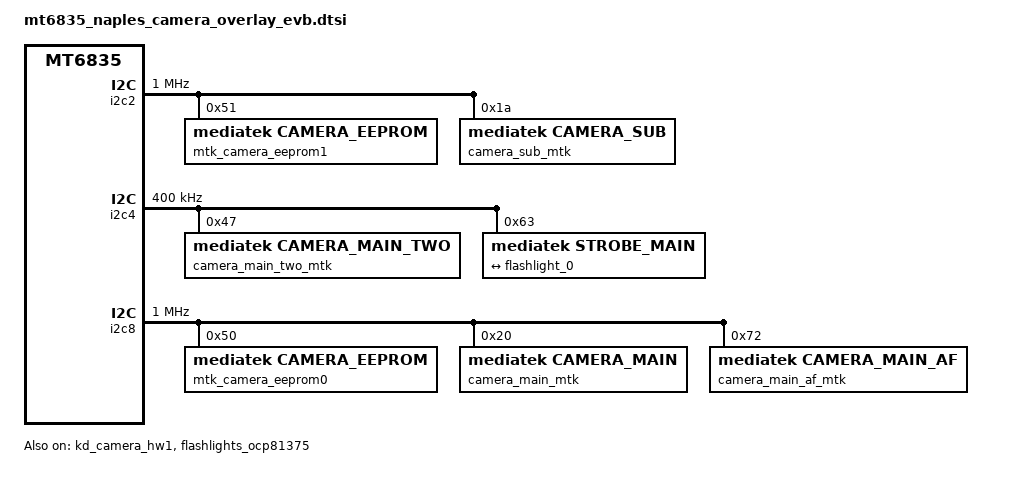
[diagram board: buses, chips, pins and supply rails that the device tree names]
// SPDX-License-Identifier: GPL-2.0
/* Copyright (c) 2020 MediaTek Inc. */
/* CAMERA GPIO standardization */
&pio {
	camera_pins_cam0_rst_0: cam0@0 {
		pins_cmd_dat {
			pinmux = <PINMUX_GPIO28__FUNC_GPIO28>;
			slew-rate = <1>;
			output-low;
		};
	};
	camera_pins_cam0_rst_1: cam0@1 {
		pins_cmd_dat {
			pinmux = <PINMUX_GPIO28__FUNC_GPIO28>;
			slew-rate = <1>;
			output-high;
		};
	};
	camera_pins_cam1_rst_0: cam1@2 {
		pins_cmd_dat {
			pinmux = <PINMUX_GPIO25__FUNC_GPIO25>;
			slew-rate = <1>;
			output-low;
		};
	};
	camera_pins_cam1_rst_1: cam1@3 {
		pins_cmd_dat {
			pinmux = <PINMUX_GPIO25__FUNC_GPIO25>;
			slew-rate = <1>;
			output-high;
		};
	};
	camera_pins_cam2_rst_0: cam2@4{
		pins_cmd_dat {
			pinmux = <PINMUX_GPIO27__FUNC_GPIO27>;
			slew-rate = <1>;
			output-low;
		};
	};
	camera_pins_cam2_rst_1: cam2@5 {
		pins_cmd_dat {
			pinmux = <PINMUX_GPIO27__FUNC_GPIO27>;
			slew-rate = <1>;
			output-high;
		};
	};
	camera_pins_cam0_avdd_gpio_0: cam0@6 {
		pins_cmd_dat {
			pinmux = <PINMUX_GPIO22__FUNC_GPIO22>;
			slew-rate = <1>;
			output-low;
		};
	};
	camera_pins_cam0_avdd_gpio_1: cam0@7 {
		pins_cmd_dat {
			pinmux = <PINMUX_GPIO22__FUNC_GPIO22>;
			slew-rate = <1>;
			output-high;
		};
	};
	camera_pins_cam0_dvdd_gpio_0: cam0@8 {
		pins_cmd_dat {
			pinmux = <PINMUX_GPIO23__FUNC_GPIO23>;
			slew-rate = <1>;
			output-low;
		};
	};
	camera_pins_cam0_dvdd_gpio_1: cam0@9 {
		pins_cmd_dat {
			pinmux = <PINMUX_GPIO23__FUNC_GPIO23>;
			slew-rate = <1>;
			output-high;
		};
	};
	camera_pins_cam0_mclk_off: camera_pins_cam0_mclk_off {
		pins_cmd_dat {
			pinmux = <PINMUX_GPIO91__FUNC_GPIO91>;
			drive-strength = <1>;
		};
	};
	camera_pins_cam0_mclk_2ma: camera_pins_cam0_mclk_2ma {
		pins_cmd_dat {
			pinmux = <PINMUX_GPIO91__FUNC_CMMCLK3>;
			drive-strength = <0>;
		};
	};
	camera_pins_cam0_mclk_4ma: camera_pins_cam0_mclk_4ma {
		pins_cmd_dat {
			pinmux = <PINMUX_GPIO91__FUNC_CMMCLK3>;
			drive-strength = <1>;
		};
	};
	camera_pins_cam0_mclk_6ma: camera_pins_cam0_mclk_6ma {
		pins_cmd_dat {
			pinmux = <PINMUX_GPIO91__FUNC_CMMCLK3>;
			drive-strength = <2>;
		};
	};
	camera_pins_cam0_mclk_8ma: camera_pins_cam0_mclk_8ma {
		pins_cmd_dat {
			pinmux = <PINMUX_GPIO91__FUNC_CMMCLK3>;
			drive-strength = <3>;
		};
	};
	camera_pins_cam1_mclk_off: camera_pins_cam1_mclk_off {
		pins_cmd_dat {
			pinmux = <PINMUX_GPIO88__FUNC_GPIO88>;
			drive-strength = <1>;
		};
	};
	camera_pins_cam1_mclk_2ma: camera_pins_cam1_mclk_2ma {
		pins_cmd_dat {
			pinmux = <PINMUX_GPIO88__FUNC_CMMCLK0>;
			drive-strength = <0>;
		};
	};
	camera_pins_cam1_mclk_4ma: camera_pins_cam1_mclk_4ma {
		pins_cmd_dat {
			pinmux = <PINMUX_GPIO88__FUNC_CMMCLK0>;
			drive-strength = <1>;
		};
	};
	camera_pins_cam1_mclk_6ma: camera_pins_cam1_mclk_6ma {
		pins_cmd_dat {
			pinmux = <PINMUX_GPIO88__FUNC_CMMCLK0>;
			drive-strength = <2>;
		};
	};
	camera_pins_cam1_mclk_8ma: camera_pins_cam1_mclk_8ma {
		pins_cmd_dat {
			pinmux = <PINMUX_GPIO88__FUNC_CMMCLK0>;
			drive-strength = <3>;
		};
	};
	camera_pins_cam2_mclk_off: camera_pins_cam2_mclk_off {
		pins_cmd_dat {
			pinmux = <PINMUX_GPIO90__FUNC_GPIO90>;
			drive-strength = <1>;
		};
	};
	camera_pins_cam2_mclk_2ma: camera_pins_cam2_mclk_2ma {
		pins_cmd_dat {
			pinmux = <PINMUX_GPIO90__FUNC_CMMCLK2>;
			drive-strength = <0>;
		};
	};
	camera_pins_cam2_mclk_4ma: camera_pins_cam2_mclk_4ma {
		pins_cmd_dat {
			pinmux = <PINMUX_GPIO90__FUNC_CMMCLK2>;
			drive-strength = <1>;
		};
	};
	camera_pins_cam2_mclk_6ma: camera_pins_cam2_mclk_6ma {
		pins_cmd_dat {
			pinmux = <PINMUX_GPIO90__FUNC_CMMCLK2>;
			drive-strength = <2>;
		};
	};
	camera_pins_cam2_mclk_8ma: camera_pins_cam2_mclk_8ma {
		pins_cmd_dat {
			pinmux = <PINMUX_GPIO90__FUNC_CMMCLK2>;
			drive-strength = <3>;
		};
	};
	camera_pins_default: camdefault {
	};
};

/delete-node/ &mt6377_vio28;
&main_pmic{
	regulators {
		mt6377_vio28: vio28 {
			regulator-compatible = "VIO28";
			regulator-name = "mt6377_vio28";
			regulator-min-microvolt = <2800000>;
			regulator-max-microvolt = <2800000>;
			regulator-enable-ramp-delay = <200>;
			regulator-allowed-modes = <0 2>;
			regulator-allow-set-load;
		};
	};
};

&kd_camera_hw1 {
	pinctrl-names = "default",
			"cam0_rst0", "cam0_rst1",
			"cam1_rst0", "cam1_rst1",
			"cam2_rst0", "cam2_rst1",
			"cam0_mclk_off",
			"cam0_mclk_2mA", "cam0_mclk_4mA",
			"cam0_mclk_6mA", "cam0_mclk_8mA",
			"cam1_mclk_off",
			"cam1_mclk_2mA", "cam1_mclk_4mA",
			"cam1_mclk_6mA", "cam1_mclk_8mA",
			"cam2_mclk_off",
			"cam2_mclk_2mA", "cam2_mclk_4mA",
			"cam2_mclk_6mA", "cam2_mclk_8mA";

	pinctrl-0 = <&camera_pins_default>;
	pinctrl-1 = <&camera_pins_cam0_rst_0>;
	pinctrl-2 = <&camera_pins_cam0_rst_1>;
	pinctrl-3 = <&camera_pins_cam1_rst_0>;
	pinctrl-4 = <&camera_pins_cam1_rst_1>;
	pinctrl-5 = <&camera_pins_cam2_rst_0>;
	pinctrl-6 = <&camera_pins_cam2_rst_1>;
	pinctrl-7 = <&camera_pins_cam0_mclk_off>;
	pinctrl-8 = <&camera_pins_cam0_mclk_2ma>;
	pinctrl-9 = <&camera_pins_cam0_mclk_4ma>;
	pinctrl-10 = <&camera_pins_cam0_mclk_6ma>;
	pinctrl-11 = <&camera_pins_cam0_mclk_8ma>;
	pinctrl-12 = <&camera_pins_cam1_mclk_off>;
	pinctrl-13 = <&camera_pins_cam1_mclk_2ma>;
	pinctrl-14 = <&camera_pins_cam1_mclk_4ma>;
	pinctrl-15 = <&camera_pins_cam1_mclk_6ma>;
	pinctrl-16 = <&camera_pins_cam1_mclk_8ma>;
	pinctrl-17 = <&camera_pins_cam2_mclk_off>;
	pinctrl-18 = <&camera_pins_cam2_mclk_2ma>;
	pinctrl-19 = <&camera_pins_cam2_mclk_4ma>;
	pinctrl-20 = <&camera_pins_cam2_mclk_6ma>;
	pinctrl-21 = <&camera_pins_cam2_mclk_8ma>;

	/* main (wide)*/
	cam0_vcamio-supply = <&mt6377_vio18>;
	cam0_vcama-supply = <&cam_avdd_rear_main>;
	cam0_vcamd-supply = <&cam_dvdd_rear_main>;
	cam0_vcamaf-supply = <&mt6377_vio28>;
	cam1_vcamio-supply = <&mt6377_vio18>;
	cam1_vcama-supply = <&cam_avdd_front>;
	cam1_vcamd-supply = <&cam_dvdd_front>;
	cam2_vcamio-supply = <&mt6377_vio18>;
	cam2_vcama-supply = <&cam_avdd_read_wide>;
	cam2_vcamd-supply = <&cam_dvdd_read_wide>;

	cam0_pin_mclk = "mclk";
	cam0_pin_rst = "gpio";
	cam0_pin_vcama = "regulator";
	cam0_pin_vcamio = "regulator";
	cam0_pin_vcamd = "regulator";
	cam0_pin_vcamaf = "regulator";
	cam1_pin_mclk = "mclk";
	cam1_pin_rst = "gpio";
	cam1_pin_vcama = "regulator";
	cam1_pin_vcamio = "regulator";
	cam1_pin_vcamd = "regulator";
	cam2_pin_mclk = "mclk";
	cam2_pin_rst = "gpio";
	cam2_pin_vcamio = "regulator";
	cam2_pin_vcama = "regulator";
	cam2_pin_vcamd = "regulator";

	cam0_enable_sensor = "mot_naples_s5khm9_mipi_raw mot_naples_imx882_mipi_raw";
	cam1_enable_sensor = "mot_naples_s5kkds_mipi_raw";
	cam2_enable_sensor = "mot_naples_ov08f_mipi_raw mot_naples_gc08a3_mipi_raw";
	status = "okay";
};
/* CAMERA GPIO end */

/* CAMERA EEPROM */
&i2c2 {
	status = "okay";
	clock-frequency = <1000000>;
	#address-cells = <1>;
	#size-cells = <0>;

	mtk_camera_eeprom1:camera_eeprom1@51 {
		compatible = "mediatek,camera_eeprom";
		reg = <0x51>;
		status = "okay";
	};

	camera_sub_mtk:camera_sub@1a {
		compatible = "mediatek,camera_sub";
		#thermal-sensor-cells = <0>;
		reg = <0x1a>;
		status = "okay";
	};
};

&i2c4 {
	status = "okay";
	clock-frequency = <400000>;

	camera_main_two_mtk:camera_main_two@47 {
		compatible = "mediatek,camera_main_two";
		#thermal-sensor-cells = <0>;
		reg = <0x47>;
		status = "okay";
	};

	strobe_main:strobe_main@63 {
		compatible = "mediatek,strobe_main";
		reg = <0x63>;
		#cooling-cells = <2>;
		pinctrl-names = "default", "hwen-high", "hwen-low";
		pinctrl-0 = <&flashlight_pins_default>;
		pinctrl-1 = <&flashlight_pins_hwen_high>;
		pinctrl-2 = <&flashlight_pins_hwen_low>;
		status = "okay";
		decouple = <1>;
		flash@0 {
			reg = <0>;
			type = <0>;
			ct = <0>;
			part = <0>;
			port@0 {
				fl_core_0: endpoint {
				remote-endpoint = <&flashlight_0>;
				};
			};
		};
	};
};

&i2c8 {
	status = "okay";
	clock-frequency = <1000000>;
	#address-cells = <1>;
	#size-cells = <0>;

	mtk_camera_eeprom0:camera_eeprom0@50 {
		compatible = "mediatek,camera_eeprom";
		reg = <0x50>;
		status = "okay";
	};
	camera_main_mtk:camera_main@20 {
		compatible = "mediatek,camera_main";
		#thermal-sensor-cells = <0>;
		reg = <0x20>;
		status = "okay";
	};
};
/* CAMERA EEPROM end */

/* CAMERA AF */
&i2c8 {
	camera_main_af_mtk:camera_main_af@72 {
		compatible = "mediatek,camera_main_af";
		reg = <0x72>;
		status = "okay";
	};
};
/* CAMERA AF end */

/* CAMERA TZ config */
&thermal_zones {
	camera_main: camera_main {
		polling-delay = <1000>; /* milliseconds */
		polling-delay-passive = <0>; /* milliseconds */
		thermal-sensors = <&camera_main_mtk>;
	};
	camera_sub: camera_sub {
		polling-delay = <1000>; /* milliseconds */
		polling-delay-passive = <0>; /* milliseconds */
		thermal-sensors = <&camera_sub_mtk>;
	};
};
/* CAMERA TZ config end */
&kd_camera_hw1 {
       cust-sensor = "mot_naples_s5khm9_mipi_raw mot_naples_imx882_mipi_raw mot_naples_s5kkds_mipi_raw mot_naples_ov08f_mipi_raw mot_naples_gc08a3_mipi_raw";
};

&pio {
	flashlight_pins_default: default {
	};

	flashlight_pins_hwen_high: hwen-high {
		pins-cmd-dat {
			pinmux = <PINMUX_GPIO43__FUNC_GPIO43>;
			slew-rate = <1>;
			output-high;
		};
	};

	flashlight_pins_hwen_low: hwen-low {
		pins-cmd-dat {
			pinmux = <PINMUX_GPIO43__FUNC_GPIO43>;
			slew-rate = <1>;
			output-low;
		};
	};
};

&flashlights_ocp81375 {
	pinctrl-names = "default", "hwen-high", "hwen-low";
	pinctrl-0 = <&flashlight_pins_default>;
	pinctrl-1 = <&flashlight_pins_hwen_high>;
	pinctrl-2 = <&flashlight_pins_hwen_low>;
	status = "okay";
};

&mtk_composite_v4l2_1 {
	port@0 {
		flashlight_0: endpoint {
			remote-endpoint = <&fl_core_0>;
		};
	};
};
/* flashlight gpio end*/
